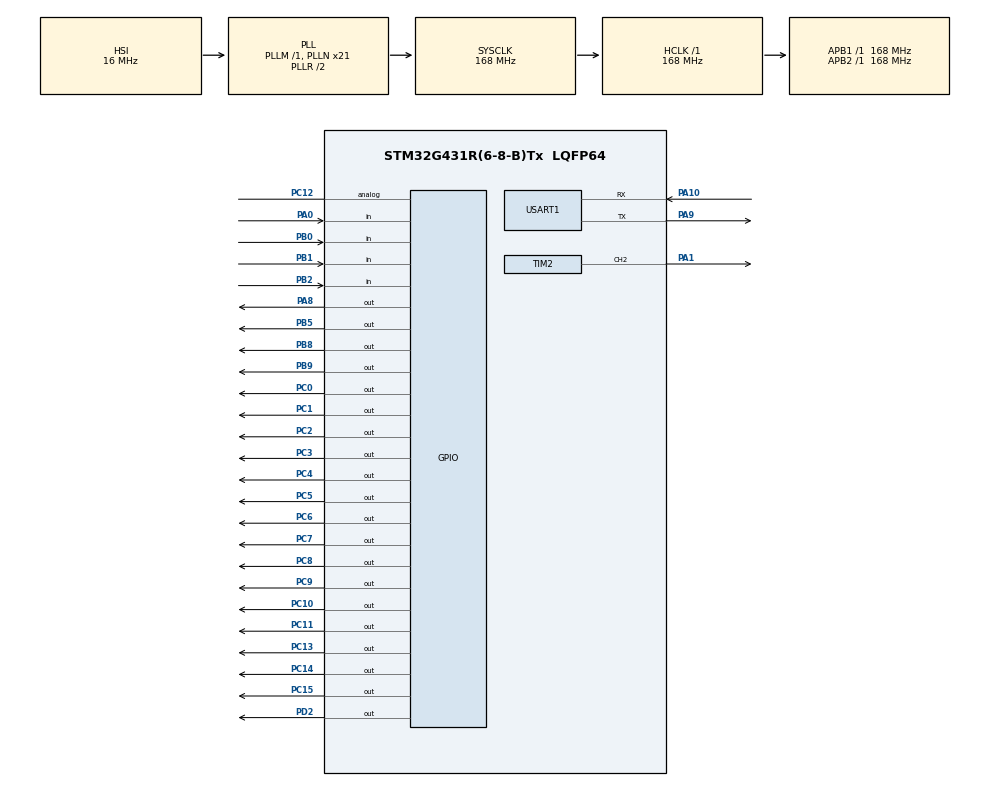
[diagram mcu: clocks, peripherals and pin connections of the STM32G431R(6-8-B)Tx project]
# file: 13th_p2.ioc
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FREERTOS.Tasks01=defaultTask,0,128,StartDefaultTask,Default,NULL,Dynamic,NULL,NULL
Mcu.Family=STM32G4
Mcu.Name=STM32G431R(6-8-B)Tx
Mcu.Package=LQFP64
NVIC.PriorityGroup=NVIC_PRIORITYGROUP_4
NVIC.TIM1_UP_TIM16_IRQn=true\:15\:0\:false\:false\:true\:false\:false\:true
NVIC.TIM2_IRQn=true\:5\:0\:false\:false\:true\:true\:true\:true
NVIC.TimeBase=TIM1_UP_TIM16_IRQn
NVIC.TimeBaseIP=TIM1
NVIC.USART1_IRQn=true\:5\:0\:false\:false\:true\:true\:true\:true
PA0.GPIO_PuPd=GPIO_PULLUP
PA0.Signal=GPIO_Input
PA1.Signal=S_TIM2_CH2
PA10.Mode=Asynchronous
PA10.Signal=USART1_RX
PA8.Signal=GPIO_Output
PA9.Mode=Asynchronous
PA9.Signal=USART1_TX
PB0.GPIO_PuPd=GPIO_PULLUP
PB0.Signal=GPIO_Input
PB1.GPIO_PuPd=GPIO_PULLUP
PB1.Signal=GPIO_Input
PB2.GPIO_PuPd=GPIO_PULLUP
PB2.Signal=GPIO_Input
PB5.Signal=GPIO_Output
PB8-BOOT0.Signal=GPIO_Output
PB9.Signal=GPIO_Output
PC0.Signal=GPIO_Output
PC1.Signal=GPIO_Output
PC10.Signal=GPIO_Output
PC11.Signal=GPIO_Output
PC12.Signal=GPIO_Analog
PC13.Signal=GPIO_Output
PC14-OSC32_IN.Signal=GPIO_Output
PC15-OSC32_OUT.Signal=GPIO_Output
PC2.Signal=GPIO_Output
PC3.Signal=GPIO_Output
PC4.Signal=GPIO_Output
PC5.Signal=GPIO_Output
PC6.Signal=GPIO_Output
PC7.Signal=GPIO_Output
PC8.Signal=GPIO_Output
PC9.Signal=GPIO_Output
PD2.Signal=GPIO_Output
PF0-OSC_IN.Mode=HSE-External-Oscillator
PF0-OSC_IN.Signal=RCC_OSC_IN
PF1-OSC_OUT.Mode=HSE-External-Oscillator
PF1-OSC_OUT.Signal=RCC_OSC_OUT
ProjectManager.HeapSize=0x200
ProjectManager.StackSize=0x400
ProjectManager.TargetToolchain=MDK-ARM V5.32
RCC.ADC12Freq_Value=168000000
RCC.AHBFreq_Value=168000000
RCC.APB1Freq_Value=168000000
RCC.APB1TimFreq_Value=168000000
RCC.APB2Freq_Value=168000000
RCC.APB2TimFreq_Value=168000000
RCC.CortexFreq_Value=168000000
RCC.EXTERNAL_CLOCK_VALUE=12288000
RCC.HCLKFreq_Value=168000000
RCC.HSE_VALUE=8000000
RCC.HSI48_VALUE=48000000
RCC.HSI_VALUE=16000000
RCC.LSE_VALUE=32768
RCC.PLLN=21
RCC.SYSCLKFreq_VALUE=168000000
RCC.SYSCLKSource=RCC_SYSCLKSOURCE_PLLCLK
RCC.USBFreq_Value=168000000
RCC.VCOOutputFreq_Value=336000000
RTC.Date=25
RTC.Hours=12
RTC.Minutes=47
RTC.Month=RTC_MONTH_MARCH
RTC.WeekDay=RTC_WEEKDAY_SATURDAY
RTC.Year=23
SH.S_TIM2_CH2.0=TIM2_CH2,PWM Generation2 CH2
TIM2.Channel-PWM\ Generation2\ CH2=TIM_CHANNEL_2
TIM2.PeriodNoDither=500-1
TIM2.Prescaler=168-1
USART1.VirtualMode-Asynchronous=VM_ASYNC
VP_FREERTOS_VS_CMSIS_V1.Mode=CMSIS_V1
VP_RTC_VS_RTC_Activate.Mode=RTC_Enabled
VP_RTC_VS_RTC_Calendar.Mode=RTC_Calendar
VP_SYS_VS_DBSignals.Mode=DisableDeadBatterySignals
VP_SYS_VS_tim1.Mode=TIM1
VP_TIM2_VS_ClockSourceINT.Mode=Internal
board=custom

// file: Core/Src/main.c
/* USER CODE BEGIN Header */
/**
  ******************************************************************************
  * @file           : main.c
  * @brief          : Main program body
  ******************************************************************************
  * @attention
  *
  * Copyright (c) 2023 STMicroelectronics.
  * All rights reserved.
  *
  * This software is licensed under terms that can be found in the LICENSE file
  * in the root directory of this software component.
  * If no LICENSE file comes with this software, it is provided AS-IS.
  *
  ******************************************************************************
  */
/* USER CODE END Header */
#include "main.h"
#include "cmsis_os.h"

/* USER CODE BEGIN Includes */
#include "code.h"
/* USER CODE END Includes */

RTC_HandleTypeDef hrtc;

TIM_HandleTypeDef htim2;

UART_HandleTypeDef huart1;

osThreadId defaultTaskHandle;
/* USER CODE BEGIN PV */
uint8_t rx_buf;
extern para_t	parat;
extern timer timer_t;
osThreadId lcdTaskHandle;
osThreadId ledTaskHandle;
osThreadId keyTaskHandle;
osThreadId rtcTaskHandle;
/* USER CODE END PV */

void SystemClock_Config(void);
static void MX_GPIO_Init(void);
static void MX_TIM2_Init(void);
static void MX_USART1_UART_Init(void);
static void MX_RTC_Init(void);
void StartDefaultTask(void const * argument);

int main(void)
{

  /* MCU Configuration--------------------------------------------------------*/

  /* Reset of all peripherals, Initializes the Flash interface and the Systick. */
  HAL_Init();

  /* Configure the system clock */
  SystemClock_Config();

  /* Initialize all configured peripherals */
  MX_GPIO_Init();
  MX_TIM2_Init();
  MX_USART1_UART_Init();
  MX_RTC_Init();
  /* USER CODE BEGIN 2 */
	HAL_TIM_Base_Start_IT(&htim2);
	pwm_set();
	lcd_set();
	I2CInit();
	HAL_UART_Receive_IT(&huart1,&rx_buf,1);
	ee_take();
  /* USER CODE END 2 */

  /* Create the thread(s) */
  /* definition and creation of defaultTask */
  osThreadDef(defaultTask, StartDefaultTask, osPriorityNormal, 0, 256);
  defaultTaskHandle = osThreadCreate(osThread(defaultTask), NULL);

  /* Start scheduler */
  osKernelStart();

  /* We should never get here as control is now taken by the scheduler */
  /* Infinite loop */
  while (1)
  {

  }
}

void SystemClock_Config(void)
{
  RCC_OscInitTypeDef RCC_OscInitStruct = {0};
  RCC_ClkInitTypeDef RCC_ClkInitStruct = {0};

  /** Configure the main internal regulator output voltage
  */
  HAL_PWREx_ControlVoltageScaling(PWR_REGULATOR_VOLTAGE_SCALE1_BOOST);
  /** Initializes the RCC Oscillators according to the specified parameters
  * in the RCC_OscInitTypeDef structure.
  */
  RCC_OscInitStruct.OscillatorType = RCC_OSCILLATORTYPE_HSI|RCC_OSCILLATORTYPE_LSI;
  RCC_OscInitStruct.HSIState = RCC_HSI_ON;
  RCC_OscInitStruct.HSICalibrationValue = RCC_HSICALIBRATION_DEFAULT;
  RCC_OscInitStruct.LSIState = RCC_LSI_ON;
  RCC_OscInitStruct.PLL.PLLState = RCC_PLL_ON;
  RCC_OscInitStruct.PLL.PLLSource = RCC_PLLSOURCE_HSI;
  RCC_OscInitStruct.PLL.PLLM = RCC_PLLM_DIV1;
  RCC_OscInitStruct.PLL.PLLN = 21;
  RCC_OscInitStruct.PLL.PLLP = RCC_PLLP_DIV2;
  RCC_OscInitStruct.PLL.PLLQ = RCC_PLLQ_DIV2;
  RCC_OscInitStruct.PLL.PLLR = RCC_PLLR_DIV2;
  if (HAL_RCC_OscConfig(&RCC_OscInitStruct) != HAL_OK)
  {
    Error_Handler();
  }
  /** Initializes the CPU, AHB and APB buses clocks
  */
  RCC_ClkInitStruct.ClockType = RCC_CLOCKTYPE_HCLK|RCC_CLOCKTYPE_SYSCLK
                              |RCC_CLOCKTYPE_PCLK1|RCC_CLOCKTYPE_PCLK2;
  RCC_ClkInitStruct.SYSCLKSource = RCC_SYSCLKSOURCE_PLLCLK;
  RCC_ClkInitStruct.AHBCLKDivider = RCC_SYSCLK_DIV1;
  RCC_ClkInitStruct.APB1CLKDivider = RCC_HCLK_DIV1;
  RCC_ClkInitStruct.APB2CLKDivider = RCC_HCLK_DIV1;

  if (HAL_RCC_ClockConfig(&RCC_ClkInitStruct, FLASH_LATENCY_4) != HAL_OK)
  {
    Error_Handler();
  }
}

static void MX_RTC_Init(void)
{

  RTC_TimeTypeDef sTime = {0};
  RTC_DateTypeDef sDate = {0};

  /** Initialize RTC Only
  */
  hrtc.Instance = RTC;
  hrtc.Init.HourFormat = RTC_HOURFORMAT_24;
  hrtc.Init.AsynchPrediv = 127;
  hrtc.Init.SynchPrediv = 255;
  hrtc.Init.OutPut = RTC_OUTPUT_DISABLE;
  hrtc.Init.OutPutRemap = RTC_OUTPUT_REMAP_NONE;
  hrtc.Init.OutPutPolarity = RTC_OUTPUT_POLARITY_HIGH;
  hrtc.Init.OutPutType = RTC_OUTPUT_TYPE_OPENDRAIN;
  hrtc.Init.OutPutPullUp = RTC_OUTPUT_PULLUP_NONE;
  if (HAL_RTC_Init(&hrtc) != HAL_OK)
  {
    Error_Handler();
  }

  /** Initialize RTC and set the Time and Date
  */
  sTime.Hours = 0x12;
  sTime.Minutes = 0x47;
  sTime.Seconds = 0x0;
  sTime.SubSeconds = 0x0;
  sTime.DayLightSaving = RTC_DAYLIGHTSAVING_NONE;
  sTime.StoreOperation = RTC_STOREOPERATION_RESET;
  if (HAL_RTC_SetTime(&hrtc, &sTime, RTC_FORMAT_BCD) != HAL_OK)
  {
    Error_Handler();
  }
  sDate.WeekDay = RTC_WEEKDAY_SATURDAY;
  sDate.Month = RTC_MONTH_MARCH;
  sDate.Date = 0x25;
  sDate.Year = 0x23;

  if (HAL_RTC_SetDate(&hrtc, &sDate, RTC_FORMAT_BCD) != HAL_OK)
  {
    Error_Handler();
  }

}

static void MX_TIM2_Init(void)
{

  TIM_ClockConfigTypeDef sClockSourceConfig = {0};
  TIM_MasterConfigTypeDef sMasterConfig = {0};
  TIM_OC_InitTypeDef sConfigOC = {0};

  htim2.Instance = TIM2;
  htim2.Init.Prescaler = 168-1;
  htim2.Init.CounterMode = TIM_COUNTERMODE_UP;
  htim2.Init.Period = 499;
  htim2.Init.ClockDivision = TIM_CLOCKDIVISION_DIV1;
  htim2.Init.AutoReloadPreload = TIM_AUTORELOAD_PRELOAD_DISABLE;
  if (HAL_TIM_Base_Init(&htim2) != HAL_OK)
  {
    Error_Handler();
  }
  sClockSourceConfig.ClockSource = TIM_CLOCKSOURCE_INTERNAL;
  if (HAL_TIM_ConfigClockSource(&htim2, &sClockSourceConfig) != HAL_OK)
  {
    Error_Handler();
  }
  if (HAL_TIM_PWM_Init(&htim2) != HAL_OK)
  {
    Error_Handler();
  }
  sMasterConfig.MasterOutputTrigger = TIM_TRGO_RESET;
  sMasterConfig.MasterSlaveMode = TIM_MASTERSLAVEMODE_DISABLE;
  if (HAL_TIMEx_MasterConfigSynchronization(&htim2, &sMasterConfig) != HAL_OK)
  {
    Error_Handler();
  }
  sConfigOC.OCMode = TIM_OCMODE_PWM1;
  sConfigOC.Pulse = 0;
  sConfigOC.OCPolarity = TIM_OCPOLARITY_HIGH;
  sConfigOC.OCFastMode = TIM_OCFAST_DISABLE;
  if (HAL_TIM_PWM_ConfigChannel(&htim2, &sConfigOC, TIM_CHANNEL_2) != HAL_OK)
  {
    Error_Handler();
  }
  HAL_TIM_MspPostInit(&htim2);

}

static void MX_USART1_UART_Init(void)
{

  huart1.Instance = USART1;
  huart1.Init.BaudRate = 9600;
  huart1.Init.WordLength = UART_WORDLENGTH_8B;
  huart1.Init.StopBits = UART_STOPBITS_1;
  huart1.Init.Parity = UART_PARITY_NONE;
  huart1.Init.Mode = UART_MODE_TX_RX;
  huart1.Init.HwFlowCtl = UART_HWCONTROL_NONE;
  huart1.Init.OverSampling = UART_OVERSAMPLING_16;
  huart1.Init.OneBitSampling = UART_ONE_BIT_SAMPLE_DISABLE;
  huart1.Init.ClockPrescaler = UART_PRESCALER_DIV1;
  huart1.AdvancedInit.AdvFeatureInit = UART_ADVFEATURE_NO_INIT;
  if (HAL_UART_Init(&huart1) != HAL_OK)
  {
    Error_Handler();
  }
  if (HAL_UARTEx_SetTxFifoThreshold(&huart1, UART_TXFIFO_THRESHOLD_1_8) != HAL_OK)
  {
    Error_Handler();
  }
  if (HAL_UARTEx_SetRxFifoThreshold(&huart1, UART_RXFIFO_THRESHOLD_1_8) != HAL_OK)
  {
    Error_Handler();
  }
  if (HAL_UARTEx_DisableFifoMode(&huart1) != HAL_OK)
  {
    Error_Handler();
  }

}

static void MX_GPIO_Init(void)
{
  GPIO_InitTypeDef GPIO_InitStruct = {0};

  /* GPIO Ports Clock Enable */
  __HAL_RCC_GPIOC_CLK_ENABLE();
  __HAL_RCC_GPIOF_CLK_ENABLE();
  __HAL_RCC_GPIOA_CLK_ENABLE();
  __HAL_RCC_GPIOB_CLK_ENABLE();
  __HAL_RCC_GPIOD_CLK_ENABLE();

  /*Configure GPIO pin Output Level */
  HAL_GPIO_WritePin(GPIOC, GPIO_PIN_13|GPIO_PIN_14|GPIO_PIN_15|GPIO_PIN_0
                          |GPIO_PIN_1|GPIO_PIN_2|GPIO_PIN_3|GPIO_PIN_4
                          |GPIO_PIN_5|GPIO_PIN_6|GPIO_PIN_7|GPIO_PIN_8
                          |GPIO_PIN_9|GPIO_PIN_10|GPIO_PIN_11, GPIO_PIN_RESET);

  /*Configure GPIO pin Output Level */
  HAL_GPIO_WritePin(GPIOA, GPIO_PIN_8, GPIO_PIN_RESET);

  /*Configure GPIO pin Output Level */
  HAL_GPIO_WritePin(GPIOD, GPIO_PIN_2, GPIO_PIN_RESET);

  /*Configure GPIO pin Output Level */
  HAL_GPIO_WritePin(GPIOB, GPIO_PIN_5|GPIO_PIN_8|GPIO_PIN_9, GPIO_PIN_RESET);

  /*Configure GPIO pins : PC13 PC14 PC15 PC0
                           PC1 PC2 PC3 PC4
                           PC5 PC6 PC7 PC8
                           PC9 PC10 PC11 */
  GPIO_InitStruct.Pin = GPIO_PIN_13|GPIO_PIN_14|GPIO_PIN_15|GPIO_PIN_0
                          |GPIO_PIN_1|GPIO_PIN_2|GPIO_PIN_3|GPIO_PIN_4
                          |GPIO_PIN_5|GPIO_PIN_6|GPIO_PIN_7|GPIO_PIN_8
                          |GPIO_PIN_9|GPIO_PIN_10|GPIO_PIN_11;
  GPIO_InitStruct.Mode = GPIO_MODE_OUTPUT_PP;
  GPIO_InitStruct.Pull = GPIO_NOPULL;
  GPIO_InitStruct.Speed = GPIO_SPEED_FREQ_LOW;
  HAL_GPIO_Init(GPIOC, &GPIO_InitStruct);

  /*Configure GPIO pin : PA0 */
  GPIO_InitStruct.Pin = GPIO_PIN_0;
  GPIO_InitStruct.Mode = GPIO_MODE_INPUT;
  GPIO_InitStruct.Pull = GPIO_PULLUP;
  HAL_GPIO_Init(GPIOA, &GPIO_InitStruct);

  /*Configure GPIO pins : PB0 PB1 PB2 */
  GPIO_InitStruct.Pin = GPIO_PIN_0|GPIO_PIN_1|GPIO_PIN_2;
  GPIO_InitStruct.Mode = GPIO_MODE_INPUT;
  GPIO_InitStruct.Pull = GPIO_PULLUP;
  HAL_GPIO_Init(GPIOB, &GPIO_InitStruct);

  /*Configure GPIO pin : PA8 */
  GPIO_InitStruct.Pin = GPIO_PIN_8;
  GPIO_InitStruct.Mode = GPIO_MODE_OUTPUT_PP;
  GPIO_InitStruct.Pull = GPIO_NOPULL;
  GPIO_InitStruct.Speed = GPIO_SPEED_FREQ_LOW;
  HAL_GPIO_Init(GPIOA, &GPIO_InitStruct);

  /*Configure GPIO pin : PC12 */
  GPIO_InitStruct.Pin = GPIO_PIN_12;
  GPIO_InitStruct.Mode = GPIO_MODE_ANALOG;
  GPIO_InitStruct.Pull = GPIO_NOPULL;
  HAL_GPIO_Init(GPIOC, &GPIO_InitStruct);

  /*Configure GPIO pin : PD2 */
  GPIO_InitStruct.Pin = GPIO_PIN_2;
  GPIO_InitStruct.Mode = GPIO_MODE_OUTPUT_PP;
  GPIO_InitStruct.Pull = GPIO_NOPULL;
  GPIO_InitStruct.Speed = GPIO_SPEED_FREQ_LOW;
  HAL_GPIO_Init(GPIOD, &GPIO_InitStruct);

  /*Configure GPIO pins : PB5 PB8 PB9 */
  GPIO_InitStruct.Pin = GPIO_PIN_5|GPIO_PIN_8|GPIO_PIN_9;
  GPIO_InitStruct.Mode = GPIO_MODE_OUTPUT_PP;
  GPIO_InitStruct.Pull = GPIO_NOPULL;
  GPIO_InitStruct.Speed = GPIO_SPEED_FREQ_LOW;
  HAL_GPIO_Init(GPIOB, &GPIO_InitStruct);

}

/* USER CODE BEGIN 4 */

void HAL_UART_RxCpltCallback(UART_HandleTypeDef *huart)
{
	uint32_t lreturn;
	char send[20];
	lreturn = taskENTER_CRITICAL_FROM_ISR();
	sprintf(send,"X:%3.1f,Y:%3.1f",parat.pri[0],parat.pri[1]);
	if(rx_buf=='?')
	{
		HAL_UART_Transmit(&huart1,(uint8_t*)send,strlen(send),1000);
	}
	HAL_UART_Receive_IT(&huart1,&rx_buf,1);
	taskEXIT_CRITICAL_FROM_ISR(lreturn);
}

void LcdTask(void const * argument)
{
  for(;;)
  {
		lcd_main();
		pwm_main();
		//osDelay(10);
  }
}

void KeyTask(void const * argument)
{
  for(;;)
  {
		taskENTER_CRITICAL();
		key_main();
		ee_write();
		taskEXIT_CRITICAL();
		osDelay(5);
  }
}

void LedTask(void const * argument)
{
  for(;;)
  {
		led_main();
		osDelay(100);
  }
}

void RtcTask(void const * argument)
{
	char rtct[25];
	RTC_TimeTypeDef rtc_time;
	RTC_DateTypeDef rtc_date;
  for(;;)
  {
		taskENTER_CRITICAL();
		HAL_RTC_GetDate(&hrtc,&rtc_date,RTC_FORMAT_BIN);
		HAL_RTC_GetTime(&hrtc,&rtc_time,RTC_FORMAT_BIN);
		sprintf(rtct,"    %02d:%02d:%02d   ",(uint8_t)rtc_time.Hours,(uint8_t)rtc_time.Minutes,(uint8_t)rtc_time.Seconds);
		LCD_DisplayStringLine(Line9,(uint8_t*)rtct);
		taskEXIT_CRITICAL();
  }
}

/* USER CODE END 4 */

void StartDefaultTask(void const * argument)
{
  /* USER CODE BEGIN 5 */
  /* Infinite loop */
  for(;;)
  {
		taskENTER_CRITICAL();
		osThreadDef(LCDTASK, LcdTask, osPriorityNormal, 0, 256);
    lcdTaskHandle = osThreadCreate(osThread(LCDTASK), NULL);
		osThreadDef(KEYTASK, KeyTask, osPriorityNormal, 0, 256);
    keyTaskHandle = osThreadCreate(osThread(KEYTASK), NULL);
		osThreadDef(LEDTASK, LedTask, osPriorityNormal, 0, 256);
    ledTaskHandle = osThreadCreate(osThread(LEDTASK), NULL);
		osThreadDef(RTCTASK, RtcTask, osPriorityNormal, 0, 256);
    rtcTaskHandle = osThreadCreate(osThread(RTCTASK), NULL);
		vTaskDelete(defaultTaskHandle);
		taskEXIT_CRITICAL();
  }
  /* USER CODE END 5 */
}

void HAL_TIM_PeriodElapsedCallback(TIM_HandleTypeDef *htim)
{
  /* USER CODE BEGIN Callback 0 */
	timer* point;
	point=&timer_t;
  /* USER CODE END Callback 0 */
  if (htim->Instance == TIM1) {
    HAL_IncTick();
  }
  /* USER CODE BEGIN Callback 1 */
	if(htim->Instance==TIM2)
	{
		if(timer_t.timer_on)
		{
			point->timer_count++;
			if(point->timer_count>=10000-1)
			{
				point->timer_on=0;
				point->timer_count=0;
			}
		}
		else
		{
			point->timer_count=0;

		}
	}
  /* USER CODE END Callback 1 */
}

void Error_Handler(void)
{
  __disable_irq();
  while (1)
  {
  }
}
